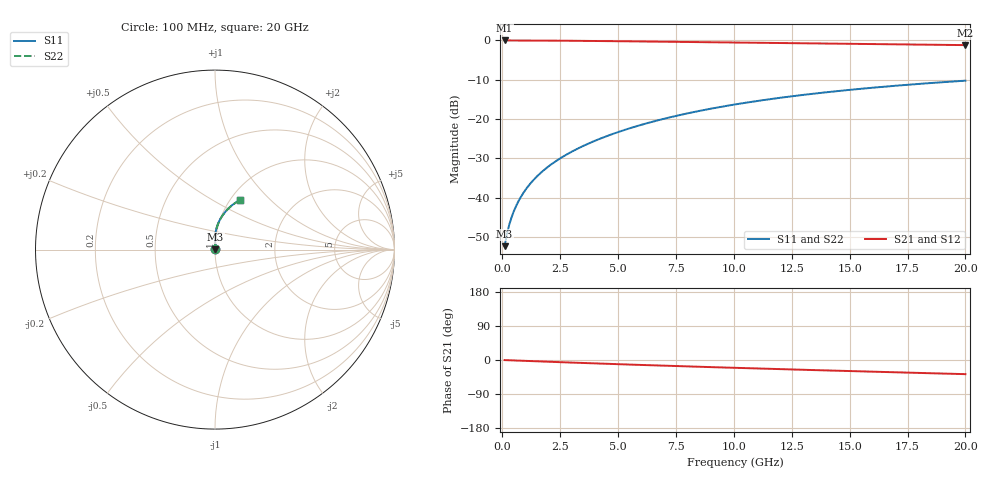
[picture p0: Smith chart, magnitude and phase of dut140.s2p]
! Touchstone file exported from HFSS 2024.1.0
!  File:  C:/UserFiles/LocalFiles/RDL_TSV_Batchsim/temp_RDL_bottom_140_1778696883.aedt
!  Generated:  02:30:29 AM May 14, 2026
!  Design:  RDL_bottom
!  Project:  temp_RDL_bottom_140_1778696883
!  Setup:  Setup1
!  Solution:  Sweep
! Variables:
!  dtsv = 10.80580581um
!  hbump = 3um
!  htsv = 86.46um
!  ldown = 534.35um
!  lrdl = 100um
!  p = 40
!  p1 = 54.77um
!  rhole = 1um
!  t = 450um
!  tdown = 3.9um
!  trdl = 3.915915916um
!  wdown = 28.07um
!  wrdl = 20um
# GHz S MA R 50.000000
! Terminal data exported
! Port[1] = RDL1_T1
! Port[2] = RDL1_T2
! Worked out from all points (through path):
!   200 points, 100 MHz to 20 GHz, reference 50 ohm
!   highest |S21| = -0.02 dB at 100 MHz (marker M1); lowest = -1.2 dB at 20 GHz (marker M2)
!   group delay of S21, straight-line fit = 5.11 ps
!   lowest |S11| = -52.3 dB at 100 MHz (marker M3), VSWR 1.00, Z = 50.2 + j0.143 ohm
!   |S11| at or under -10 dB: start of sweep to end of sweep
!   |S22| runs from -52.3 to -10.2 dB; largest |S21 - S12| = 3.1e-15
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0.1  0.00243 36.0  0.998 -0.2  0.998 -0.2  0.00243 36.0
! Gamma 0 0 0 0
! Port Impedance 50 0 50 0
0.2  0.003459 52.4  0.9978 -0.5  0.9978 -0.5  0.003459 52.4
0.3  0.00455 60.8  0.9976 -0.7  0.9976 -0.7  0.00455 60.8
0.4  0.005653 66.1  0.9975 -0.9  0.9975 -0.9  0.005653 66.1
0.5  0.006771 70.0  0.9973 -1.2  0.9973 -1.2  0.006772 70.0
0.6  0.007909 72.9  0.9972 -1.4  0.9972 -1.4  0.007909 72.9
0.8  0.01023 77.1  0.9968 -1.9  0.9968 -1.9  0.01023 77.1
1.1  0.01382 81.0  0.9962 -2.6  0.9962 -2.6  0.01382 81.0
1.3  0.01626 82.7  0.9957 -3.0  0.9957 -3.0  0.01626 82.7
1.6  0.02 84.6  0.9948 -3.7  0.9948 -3.7  0.02 84.6
2.1  0.02641 86.8  0.993 -4.8  0.993 -4.8  0.02641 86.8
2.7  0.03442 88.3  0.9903 -6.2  0.9903 -6.2  0.03441 88.3
3.5  0.04566 89.4  0.986 -7.9  0.986 -7.9  0.04565 89.4
4.2  0.05601 89.7  0.9817 -9.4  0.9817 -9.4  0.056 89.7
5  0.06839 89.6  0.9763 -11.1  0.9763 -11.1  0.06836 89.5
6.8  0.09786 87.8  0.9634 -14.6  0.9634 -14.6  0.09781 87.8
8.4  0.1251 85.4  0.9517 -17.7  0.9517 -17.7  0.1251 85.3
10.1  0.1544 82.3  0.9394 -20.8  0.9394 -20.8  0.1543 82.2
11.7  0.1815 79.1  0.928 -23.6  0.928 -23.6  0.1814 79.1
13.4  0.2096 75.8  0.9161 -26.5  0.9161 -26.5  0.2095 75.8
16.7  0.2611 69.4  0.8933 -32.0  0.8933 -32.0  0.261 69.4
20  0.3078 63.4  0.8709 -37.3  0.8709 -37.3  0.3076 63.3
